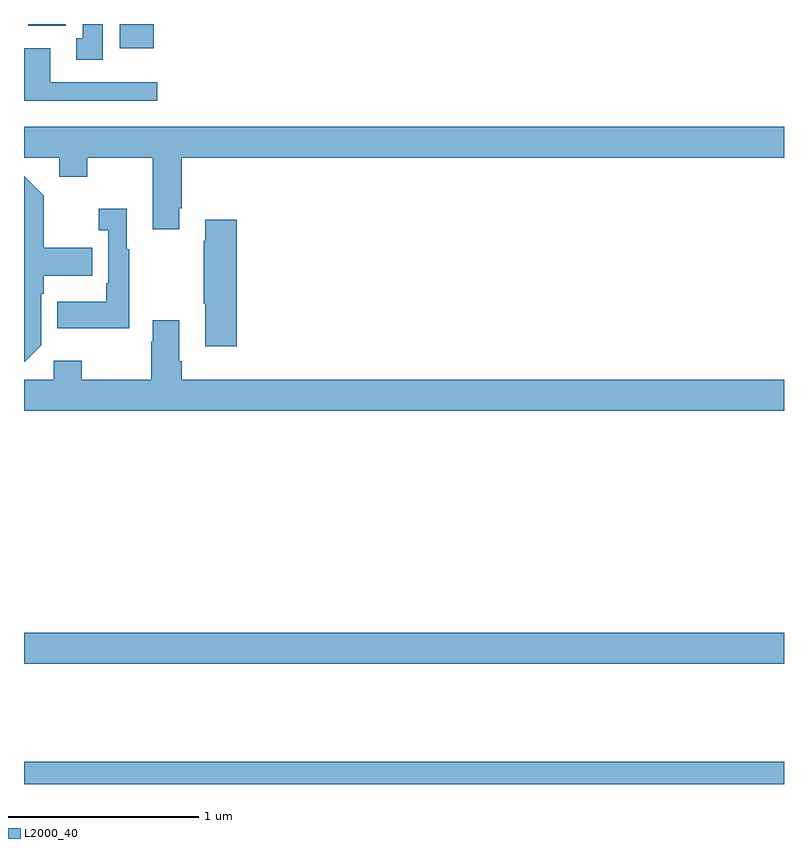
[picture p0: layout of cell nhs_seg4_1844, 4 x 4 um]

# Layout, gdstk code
import gdstk
lib = gdstk.Library(unit=1e-6, precision=1e-09)
def R(c, l, rs):  # rectangles x0, y0, x1, y1
    for r in rs: c.add(gdstk.rectangle(r[:2], r[2:], *l))
def P(c, l, *ps):  # polygons
    for p in ps: c.add(gdstk.Polygon(p, *l))
L2000_40 = (2000, 40)

nhs_seg4_1844 = lib.new_cell('nhs_seg4_1844')
R(nhs_seg4_1844, L2000_40, [(207,750.9,211,751.016), (207,751.532,211,751.696), (207.503,754.772,207.682,754.9), (207.023,754.892,207.22,754.9)])
P(nhs_seg4_1844, L2000_40, [(207.415,754.9),(207.308,754.9),(207.308,754.826),(207.275,754.826),(207.275,754.713),(207.415,754.713)],
  [(207.7,754.593),(207.139,754.593),(207.139,754.773),(207,754.773),(207,754.496),(207.7,754.496)],
  [(207.817,753.931),(207.83,753.931),(207.83,754.196),(211,754.196),(211,754.36),(207,754.36),(207,754.196),(207.185,754.196),(207.185,754.097),(207.333,754.097),(207.333,754.196),(207.677,754.196),(207.677,753.819),(207.817,753.819)],
  [(207.09,753.21),(207.09,753.479),(207.103,753.479),(207.103,753.575),(207.359,753.575),(207.359,753.723),(207.103,753.723),(207.103,753.995),(207,754.098),(207,753.123),(207.003,753.123)],
  [(207.553,753.715),(207.541,753.715),(207.541,753.928),(207.393,753.928),(207.393,753.815),(207.444,753.815),(207.444,753.535),(207.432,753.535),(207.432,753.439),(207.175,753.439),(207.175,753.299),(207.553,753.299)],
  [(208.121,753.871),(207.953,753.871),(207.953,753.758),(207.946,753.758),(207.946,753.427),(207.953,753.427),(207.953,753.204),(208.121,753.204)],
  [(211,753.028),(207.83,753.028),(207.83,753.124),(207.817,753.124),(207.817,753.34),(207.677,753.34),(207.677,753.227),(207.67,753.227),(207.67,753.028),(207.303,753.028),(207.303,753.127),(207.156,753.127),(207.156,753.028),(207,753.028),(207,752.864),(211,752.864)])

lib.write_gds('nhs_seg4_1844.gds')
